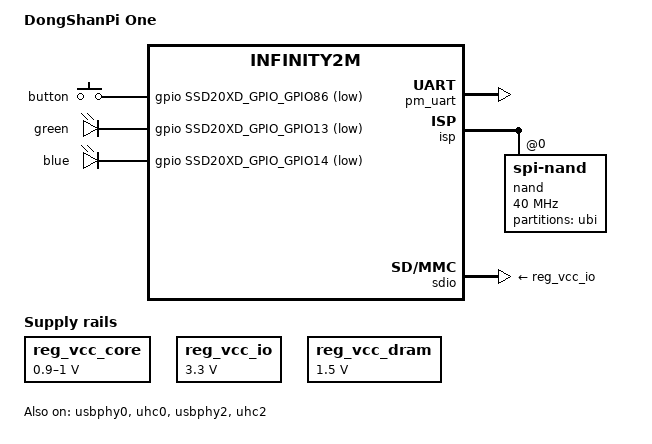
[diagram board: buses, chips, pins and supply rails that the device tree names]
// SPDX-License-Identifier: GPL-2.0-or-later
/*
 * Copyright (c) 2021 thingy.jp.
 * Author: Daniel Palmer <daniel@thingy.jp>
 */

/dts-v1/;
#include "mstar-infinity2m-ssd202d.dtsi"

#include <dt-bindings/gpio/gpio.h>

/ {
	model = "DongShanPi One";
	compatible = "100ask,dongshanpione", "mstar,infinity2m";

	aliases {
		serial0 = &pm_uart;
	};

	chosen {
		stdout-path = "serial0:115200n8";
	};

	gpio-keys {
		compatible = "gpio-keys-polled";
		poll-interval = <100>;

		button {
			label = "button";
			gpios = <&gpio SSD20XD_GPIO_GPIO86 GPIO_ACTIVE_LOW>;
			linux,code = <0x100>; /* BTN_0 */
		};
	};

	leds {
		compatible = "gpio-leds";
		green {
			gpios = <&gpio SSD20XD_GPIO_GPIO13 GPIO_ACTIVE_LOW>;
			linux,default-trigger = "heartbeat";
		};
		blue {
			gpios = <&gpio SSD20XD_GPIO_GPIO14 GPIO_ACTIVE_LOW>;
			linux,default-trigger = "activity";
		};
	};

	reg_vcc_core: regulator@0 {
		compatible = "regulator-gpio";
		regulator-name = "vcc_core";
		regulator-type = "voltage";
		regulator-min-microvolt = <900000>;
		regulator-max-microvolt = <1000000>;
		regulator-boot-on;
		regulator-ramp-delay = <12000>;
		gpios = <&sar 1 0>;
		states = <1000000 0x1
			  900000  0x0>;
	};

	reg_vcc_io: regulator-vcc-io {
		compatible = "regulator-fixed";
		regulator-name = "vcc_io";
		regulator-min-microvolt = <3300000>;
		regulator-max-microvolt = <3300000>;
		regulator-boot-on;
	};

	reg_vcc_dram: regulator-vcc-dram {
		compatible = "regulator-fixed";
		regulator-name = "vcc_dram";
		regulator-min-microvolt = <1500000>;
		regulator-max-microvolt = <1500000>;
		regulator-boot-on;
	};
};

&cpu0 {
	cpu-supply = <&reg_vcc_core>;
};

&pm_uart {
	status = "okay";
};

&isp {
	status = "okay";
	nand: nand@0 {
		#address-cells = <1>;
		#size-cells = <1>;
		compatible = "spi-nand";
		reg = <0>;
		spi-max-frequency = <40000000>;
		spi-rx-bus-width = <4>;
		partitions {
			compatible = "fixed-partitions";
			#address-cells = <1>;
			#size-cells = <1>;

			ubi@2c0000 {
				label = "ubi";
				reg = <0x2c0000 0x7d40000>;
			};
		};
	};
};

&miu {
	ddr-supply = <&reg_vcc_dram>;
};

&sdio {
	vmmc-supply = <&reg_vcc_io>;
	vqmmc-supply = <&reg_vcc_io>;
	status = "okay";
};

&usbphy0 {
	status = "okay";
};

&uhc0 {
	status = "okay";
};

&usbphy2 {
	status = "okay";
};

&uhc2 {
	status = "okay";
};
